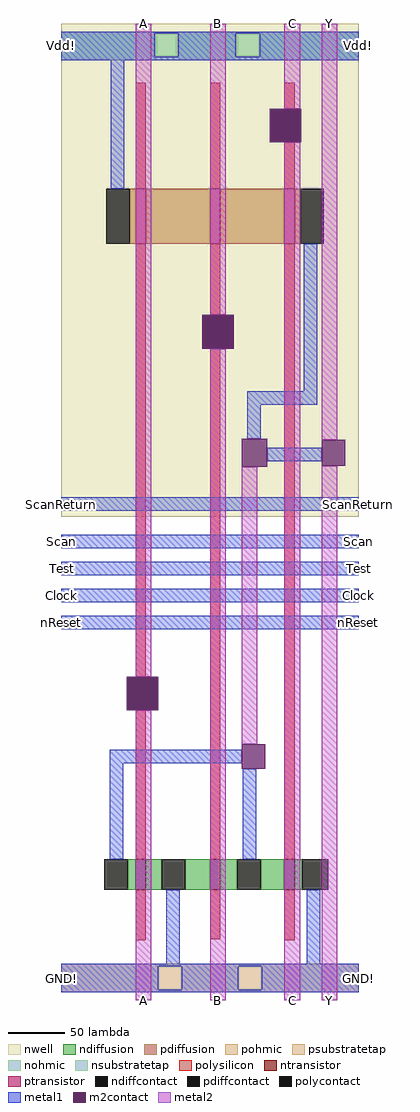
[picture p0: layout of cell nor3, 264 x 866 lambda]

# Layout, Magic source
magic
tech tsmc180
<< nwell >>
rect 0 429 264 866
<< polysilicon >>
rect 66 720 75 814
rect 132 720 141 814
rect 198 791 207 814
rect 198 720 207 761
rect 66 287 75 671
rect 132 608 141 671
rect 66 125 75 257
rect 132 125 141 578
rect 198 125 207 671
rect 66 53 75 98
rect 132 54 141 98
rect 198 53 207 98
<< ndiffusion >>
rect 59 98 66 125
rect 75 98 89 125
rect 110 98 132 125
rect 141 98 156 125
rect 177 98 198 125
rect 207 98 214 125
<< pdiffusion >>
rect 61 671 66 720
rect 75 671 132 720
rect 141 671 198 720
rect 207 671 212 720
<< pohmic >>
rect 0 30 264 32
rect 0 9 86 30
rect 107 9 157 30
rect 178 9 264 30
rect 0 7 264 9
<< nohmic >>
rect 0 858 264 859
rect 0 837 83 858
rect 104 837 155 858
rect 176 837 264 858
rect 0 834 264 837
<< ntransistor >>
rect 66 98 75 125
rect 132 98 141 125
rect 198 98 207 125
<< ptransistor >>
rect 66 671 75 720
rect 132 671 141 720
rect 198 671 207 720
<< polycontact >>
rect 185 761 213 791
rect 125 578 153 608
rect 58 257 86 287
<< ndiffcontact >>
rect 38 98 59 125
rect 89 98 110 125
rect 156 98 177 125
rect 214 98 237 125
<< pdiffcontact >>
rect 40 671 61 720
rect 212 671 233 720
<< psubstratetap >>
rect 86 9 107 30
rect 157 9 178 30
<< nsubstratetap >>
rect 83 837 104 858
rect 155 837 176 858
<< metal1 >>
rect 0 858 264 859
rect 0 837 83 858
rect 104 837 155 858
rect 176 837 264 858
rect 0 834 264 837
rect 44 720 56 834
rect 215 540 227 671
rect 165 528 227 540
rect 165 498 177 528
rect 183 478 231 490
rect 0 434 264 446
rect 0 401 264 413
rect 0 377 264 389
rect 0 353 264 365
rect 0 329 264 341
rect 43 210 160 222
rect 43 125 55 210
rect 161 125 173 205
rect 93 32 105 98
rect 218 32 230 98
rect 0 30 264 32
rect 0 9 86 30
rect 107 9 157 30
rect 178 9 264 30
rect 0 7 264 9
<< m2contact >>
rect 185 761 213 791
rect 125 578 153 608
rect 160 473 183 498
rect 231 474 252 497
rect 58 257 86 287
rect 160 205 181 227
<< metal2 >>
rect 66 287 80 866
rect 132 608 146 866
rect 198 791 212 866
rect 66 0 80 257
rect 132 0 146 578
rect 160 227 174 473
rect 198 0 212 761
rect 231 497 245 866
rect 231 0 245 474
<< labels >>
rlabel metal1 0 7 0 32 3 GND!
rlabel metal1 0 329 0 341 3 nReset
rlabel metal1 0 353 0 365 3 Clock
rlabel metal1 0 377 0 389 3 Test
rlabel metal1 0 434 0 446 3 ScanReturn
rlabel metal1 0 834 0 859 3 Vdd!
rlabel metal1 0 401 0 413 3 Scan
rlabel metal1 264 434 264 446 7 ScanReturn
rlabel metal1 264 401 264 413 7 Scan
rlabel metal1 264 377 264 389 7 Test
rlabel metal1 264 353 264 365 7 Clock
rlabel metal1 264 329 264 341 7 nReset
rlabel metal1 264 834 264 859 7 Vdd!
rlabel metal1 264 7 264 32 7 GND!
rlabel metal2 66 0 80 0 1 A
rlabel metal2 132 0 146 0 1 B
rlabel metal2 198 0 212 0 1 C
rlabel metal2 231 0 245 0 1 Y
rlabel metal2 66 866 80 866 5 A
rlabel metal2 132 866 146 866 5 B
rlabel metal2 231 866 245 866 5 Y
rlabel metal2 198 866 212 866 5 C
<< end >>
